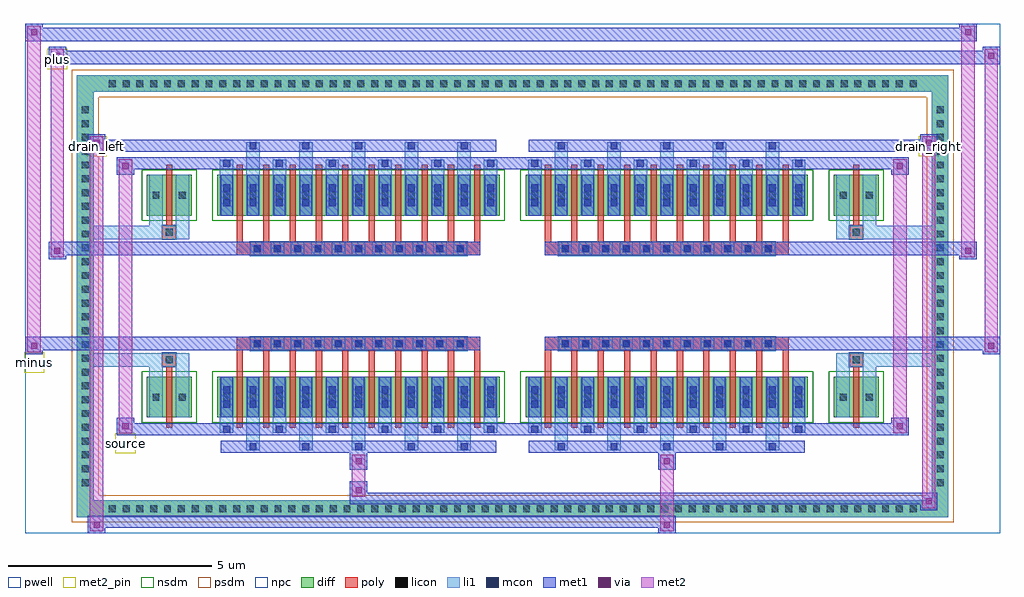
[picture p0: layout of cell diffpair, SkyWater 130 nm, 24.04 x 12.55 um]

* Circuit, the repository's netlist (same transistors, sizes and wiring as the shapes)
* NGSPICE file created from diffpair.ext - technology: sky130A

.subckt diffpair minus drain_right drain_left source plus
X0 drain_right minus source a_n2146_n1088# sky130_fd_pr__nfet_01v8 ad=0.25 pd=1.5 as=0.25 ps=1.5 w=1 l=0.15
X1 drain_left plus source a_n2146_n1088# sky130_fd_pr__nfet_01v8 ad=0.25 pd=1.5 as=0.25 ps=1.5 w=1 l=0.15
X2 source minus drain_right a_n2146_n1088# sky130_fd_pr__nfet_01v8 ad=0.25 pd=1.5 as=0.25 ps=1.5 w=1 l=0.15
X3 source plus drain_left a_n2146_n1088# sky130_fd_pr__nfet_01v8 ad=0.25 pd=1.5 as=0.25 ps=1.5 w=1 l=0.15
X4 drain_right minus source a_n2146_n1088# sky130_fd_pr__nfet_01v8 ad=0.25 pd=1.5 as=0.25 ps=1.5 w=1 l=0.15
X5 source plus drain_left a_n2146_n1088# sky130_fd_pr__nfet_01v8 ad=0.25 pd=1.5 as=0.25 ps=1.5 w=1 l=0.15
X6 drain_right minus source a_n2146_n1088# sky130_fd_pr__nfet_01v8 ad=0.25 pd=1.5 as=0.25 ps=1.5 w=1 l=0.15
X7 a_n2146_n1088# a_n2146_n1088# a_n2146_n1088# a_n2146_n1088# sky130_fd_pr__nfet_01v8 ad=0.475 pd=2.95 as=3.8 ps=23.6 w=1 l=0.15
X8 source minus drain_right a_n2146_n1088# sky130_fd_pr__nfet_01v8 ad=0.25 pd=1.5 as=0.25 ps=1.5 w=1 l=0.15
X9 source plus drain_left a_n2146_n1088# sky130_fd_pr__nfet_01v8 ad=0.475 pd=2.95 as=0.25 ps=1.5 w=1 l=0.15
X10 drain_left plus source a_n2146_n1088# sky130_fd_pr__nfet_01v8 ad=0.25 pd=1.5 as=0.475 ps=2.95 w=1 l=0.15
X11 drain_right minus source a_n2146_n1088# sky130_fd_pr__nfet_01v8 ad=0.25 pd=1.5 as=0.25 ps=1.5 w=1 l=0.15
X12 source minus drain_right a_n2146_n1088# sky130_fd_pr__nfet_01v8 ad=0.25 pd=1.5 as=0.25 ps=1.5 w=1 l=0.15
X13 a_n2146_n1088# a_n2146_n1088# a_n2146_n1088# a_n2146_n1088# sky130_fd_pr__nfet_01v8 ad=0.475 pd=2.95 as=0 ps=0 w=1 l=0.15
X14 drain_right minus source a_n2146_n1088# sky130_fd_pr__nfet_01v8 ad=0.25 pd=1.5 as=0.475 ps=2.95 w=1 l=0.15
X15 drain_right minus source a_n2146_n1088# sky130_fd_pr__nfet_01v8 ad=0.25 pd=1.5 as=0.25 ps=1.5 w=1 l=0.15
X16 source minus drain_right a_n2146_n1088# sky130_fd_pr__nfet_01v8 ad=0.25 pd=1.5 as=0.25 ps=1.5 w=1 l=0.15
X17 drain_left plus source a_n2146_n1088# sky130_fd_pr__nfet_01v8 ad=0.25 pd=1.5 as=0.25 ps=1.5 w=1 l=0.15
X18 source minus drain_right a_n2146_n1088# sky130_fd_pr__nfet_01v8 ad=0.25 pd=1.5 as=0.25 ps=1.5 w=1 l=0.15
X19 drain_right minus source a_n2146_n1088# sky130_fd_pr__nfet_01v8 ad=0.25 pd=1.5 as=0.25 ps=1.5 w=1 l=0.15
X20 source minus drain_right a_n2146_n1088# sky130_fd_pr__nfet_01v8 ad=0.475 pd=2.95 as=0.25 ps=1.5 w=1 l=0.15
X21 a_n2146_n1088# a_n2146_n1088# a_n2146_n1088# a_n2146_n1088# sky130_fd_pr__nfet_01v8 ad=0.475 pd=2.95 as=0 ps=0 w=1 l=0.15
X22 drain_left plus source a_n2146_n1088# sky130_fd_pr__nfet_01v8 ad=0.25 pd=1.5 as=0.25 ps=1.5 w=1 l=0.15
X23 source plus drain_left a_n2146_n1088# sky130_fd_pr__nfet_01v8 ad=0.475 pd=2.95 as=0.25 ps=1.5 w=1 l=0.15
X24 drain_right minus source a_n2146_n1088# sky130_fd_pr__nfet_01v8 ad=0.25 pd=1.5 as=0.25 ps=1.5 w=1 l=0.15
X25 drain_right minus source a_n2146_n1088# sky130_fd_pr__nfet_01v8 ad=0.25 pd=1.5 as=0.25 ps=1.5 w=1 l=0.15
X26 source minus drain_right a_n2146_n1088# sky130_fd_pr__nfet_01v8 ad=0.25 pd=1.5 as=0.25 ps=1.5 w=1 l=0.15
X27 drain_right minus source a_n2146_n1088# sky130_fd_pr__nfet_01v8 ad=0.25 pd=1.5 as=0.475 ps=2.95 w=1 l=0.15
X28 source plus drain_left a_n2146_n1088# sky130_fd_pr__nfet_01v8 ad=0.25 pd=1.5 as=0.25 ps=1.5 w=1 l=0.15
X29 drain_left plus source a_n2146_n1088# sky130_fd_pr__nfet_01v8 ad=0.25 pd=1.5 as=0.25 ps=1.5 w=1 l=0.15
X30 source minus drain_right a_n2146_n1088# sky130_fd_pr__nfet_01v8 ad=0.25 pd=1.5 as=0.25 ps=1.5 w=1 l=0.15
X31 a_n2146_n1088# a_n2146_n1088# a_n2146_n1088# a_n2146_n1088# sky130_fd_pr__nfet_01v8 ad=0.475 pd=2.95 as=0 ps=0 w=1 l=0.15
X32 drain_left plus source a_n2146_n1088# sky130_fd_pr__nfet_01v8 ad=0.25 pd=1.5 as=0.25 ps=1.5 w=1 l=0.15
X33 drain_left plus source a_n2146_n1088# sky130_fd_pr__nfet_01v8 ad=0.25 pd=1.5 as=0.475 ps=2.95 w=1 l=0.15
X34 source plus drain_left a_n2146_n1088# sky130_fd_pr__nfet_01v8 ad=0.25 pd=1.5 as=0.25 ps=1.5 w=1 l=0.15
X35 source plus drain_left a_n2146_n1088# sky130_fd_pr__nfet_01v8 ad=0.25 pd=1.5 as=0.25 ps=1.5 w=1 l=0.15
X36 source minus drain_right a_n2146_n1088# sky130_fd_pr__nfet_01v8 ad=0.475 pd=2.95 as=0.25 ps=1.5 w=1 l=0.15
X37 source minus drain_right a_n2146_n1088# sky130_fd_pr__nfet_01v8 ad=0.25 pd=1.5 as=0.25 ps=1.5 w=1 l=0.15
X38 source plus drain_left a_n2146_n1088# sky130_fd_pr__nfet_01v8 ad=0.25 pd=1.5 as=0.25 ps=1.5 w=1 l=0.15
X39 drain_left plus source a_n2146_n1088# sky130_fd_pr__nfet_01v8 ad=0.25 pd=1.5 as=0.25 ps=1.5 w=1 l=0.15
X40 drain_left plus source a_n2146_n1088# sky130_fd_pr__nfet_01v8 ad=0.25 pd=1.5 as=0.25 ps=1.5 w=1 l=0.15
X41 drain_left plus source a_n2146_n1088# sky130_fd_pr__nfet_01v8 ad=0.25 pd=1.5 as=0.25 ps=1.5 w=1 l=0.15
X42 source plus drain_left a_n2146_n1088# sky130_fd_pr__nfet_01v8 ad=0.25 pd=1.5 as=0.25 ps=1.5 w=1 l=0.15
X43 source plus drain_left a_n2146_n1088# sky130_fd_pr__nfet_01v8 ad=0.25 pd=1.5 as=0.25 ps=1.5 w=1 l=0.15
.ends

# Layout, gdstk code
import gdstk
lib = gdstk.Library(unit=1e-6, precision=5e-09)
def R(c, l, rs):  # rectangles x0, y0, x1, y1
    for r in rs: c.add(gdstk.rectangle(r[:2], r[2:], *l))
def A(c, l, x, y, w, h, nx, ny, dx, dy):  # array of equal rectangles
    R(c, l, [(x+i*dx, y+j*dy, x+i*dx+w, y+j*dy+h) for i in range(nx) for j in range(ny)])
def P(c, l, *ps):  # polygons
    for p in ps: c.add(gdstk.Polygon(p, *l))
pwell = (64, 44)
diff = (65, 20)
poly = (66, 20)
licon = (66, 44)
li1 = (67, 20)
mcon = (67, 44)
met1 = (68, 20)
via = (68, 44)
met2_pin = (69, 16)
met2 = (69, 20)
nsdm = (93, 44)
psdm = (94, 20)
npc = (95, 20)

diffpair = lib.new_cell('diffpair')
R(diffpair, pwell, [(-12,-5.84,12,6.71), (-9.32,-4.03,-0.01,-0.805), (0.01,-4.03,9.32,-0.805), (-9.32,0.805,-0.01,4.03), (0.01,0.805,9.32,4.03)])
A(diffpair, diff, -10.065, -5.44, 0.41, 0.41, 59, 2, 0.34, 10.47)
A(diffpair, diff, -10.73, -4.795, 0.41, 0.41, 1, 28, 0, 0.34)
A(diffpair, diff, 10.32, -4.795, 0.41, 0.41, 1, 28, 0, 0.34)
R(diffpair, diff, [(-10.065,-5.44,10.065,-5.03), (-10.73,-4.795,-10.32,4.795), (10.32,-4.795,10.73,4.795), (-9.01,-2.985,-7.91,-1.985), (-7.27,-2.985,-0.32,-1.985), (0.32,-2.985,7.27,-1.985), (7.91,-2.985,9.01,-1.985), (-9.01,1.985,-7.91,2.985), (-7.27,1.985,-0.32,2.985), (0.32,1.985,7.27,2.985), (7.91,1.985,9.01,2.985), (-10.065,5.03,10.065,5.44)])
P(diffpair, diff, [(10.73,5.44),(-10.73,5.44),(-10.73,-5.03),(-10.32,-5.03),(-10.32,5.03),(10.32,5.03),(10.32,-5.03),(-10.32,-5.03),(-10.73,-5.03),(-10.73,-5.44),(10.73,-5.44)])
A(diffpair, poly, -6.795, -3.235, 0.15, 1.5, 10, 2, 0.65, 4.97)
A(diffpair, poly, 0.795, -3.235, 0.15, 1.5, 10, 2, 0.65, 4.97)
A(diffpair, poly, -6.795, -1.735, 0.15, 0.4, 10, 2, 0.65, 3.07)
A(diffpair, poly, 0.795, -1.735, 0.15, 0.4, 10, 2, 0.65, 3.07)
A(diffpair, poly, -6.46, -1.335, 0.33, 0.33, 11, 2, 0.5, 2.34)
A(diffpair, poly, 1.13, -1.335, 0.33, 0.33, 11, 2, 0.5, 2.34)
R(diffpair, poly, [(-8.535,-3.235,-8.385,-1.735), (8.385,-3.235,8.535,-1.735), (-8.625,-1.735,-8.295,-1.405), (-8.625,-1.735,-8.295,-1.405), (8.295,-1.735,8.625,-1.405), (8.295,-1.735,8.625,-1.405), (-6.795,-1.335,-0.795,-1.005), (0.795,-1.335,6.795,-1.005), (-6.795,1.005,-0.795,1.335), (0.795,1.005,6.795,1.335), (-8.625,1.405,-8.295,1.735), (-8.625,1.405,-8.295,1.735), (8.295,1.405,8.625,1.735), (8.295,1.405,8.625,1.735), (-8.535,1.735,-8.385,3.235), (8.385,1.735,8.535,3.235)])
A(diffpair, licon, -9.945, -5.32, 0.17, 0.17, 59, 2, 0.34, 10.47)
A(diffpair, licon, -10.61, -4.675, 0.17, 0.17, 1, 28, 0, 0.34)
A(diffpair, licon, 10.44, -4.675, 0.17, 0.17, 1, 28, 0, 0.34)
A(diffpair, licon, -7.13, -2.57, 0.17, 0.17, 11, 2, 0.65, 4.97)
A(diffpair, licon, 0.46, -2.57, 0.17, 0.17, 11, 2, 0.65, 4.97)
A(diffpair, licon, -6.38, -1.255, 0.17, 0.17, 11, 2, 0.5, 2.34)
A(diffpair, licon, 1.21, -1.255, 0.17, 0.17, 11, 2, 0.5, 2.34)
R(diffpair, licon, [(-8.87,-2.57,-8.7,-2.4), (-8.22,-2.57,-8.05,-2.4), (8.05,-2.57,8.22,-2.4), (8.7,-2.57,8.87,-2.4), (-8.545,-1.655,-8.375,-1.485), (8.375,-1.655,8.545,-1.485), (-8.545,1.485,-8.375,1.655), (8.375,1.485,8.545,1.655), (-8.87,2.4,-8.7,2.57), (-8.22,2.4,-8.05,2.57), (8.05,2.4,8.22,2.57), (8.7,2.4,8.87,2.57)])
A(diffpair, li1, -10.025, -5.4, 0.33, 0.33, 59, 2, 0.34, 10.47)
A(diffpair, li1, -10.69, -4.755, 0.33, 0.33, 1, 28, 0, 0.34)
A(diffpair, li1, 10.36, -4.755, 0.33, 0.33, 1, 28, 0, 0.34)
A(diffpair, li1, -6.56, -3.79, 0.33, 0.805, 5, 2, 1.3, 6.775)
A(diffpair, li1, -6.48, -3.79, 0.17, 0.17, 5, 2, 1.3, 7.41)
A(diffpair, li1, 1.03, -3.79, 0.33, 0.805, 5, 2, 1.3, 6.775)
A(diffpair, li1, 1.11, -3.79, 0.17, 0.17, 5, 2, 1.3, 7.41)
A(diffpair, li1, -7.21, -3.36, 0.33, 0.375, 6, 2, 1.3, 6.345)
A(diffpair, li1, -7.13, -3.36, 0.17, 0.17, 6, 2, 1.3, 6.55)
A(diffpair, li1, 0.38, -3.36, 0.33, 0.375, 6, 2, 1.3, 6.345)
A(diffpair, li1, 0.46, -3.36, 0.17, 0.17, 6, 2, 1.3, 6.55)
A(diffpair, li1, -7.21, -2.985, 0.33, 1, 11, 2, 0.65, 4.97)
A(diffpair, li1, 0.38, -2.985, 0.33, 1, 11, 2, 0.65, 4.97)
A(diffpair, li1, -7.13, -2.75, 0.17, 0.17, 11, 2, 0.65, 0.36)
A(diffpair, li1, -7.13, -2.75, 0.17, 0.53, 11, 2, 0.65, 4.97)
A(diffpair, li1, 0.46, -2.75, 0.17, 0.17, 11, 2, 0.65, 0.36)
A(diffpair, li1, 0.46, -2.75, 0.17, 0.53, 11, 2, 0.65, 4.97)
A(diffpair, li1, -7.21, -2.65, 0.33, 0.33, 11, 2, 0.65, 4.97)
A(diffpair, li1, 0.38, -2.65, 0.33, 0.33, 11, 2, 0.65, 4.97)
A(diffpair, li1, -6.46, -1.335, 0.33, 0.33, 11, 2, 0.5, 2.34)
A(diffpair, li1, 1.13, -1.335, 0.33, 0.33, 11, 2, 0.5, 2.34)
A(diffpair, li1, -7.13, 2.22, 0.17, 0.17, 11, 2, 0.65, 0.36)
A(diffpair, li1, 0.46, 2.22, 0.17, 0.17, 11, 2, 0.65, 0.36)
R(diffpair, li1, [(-10.73,-5.44,-10.32,-5.03), (-10.73,-5.44,-10.32,-5.03), (-10.32,-5.44,10.32,-5.03), (10.32,-5.44,10.73,-5.03), (10.32,-5.44,10.73,-5.03), (-10.73,-5.03,-10.32,5.03), (10.32,-5.03,10.73,5.03), (-8.95,-2.985,-8.62,-1.985), (-8.3,-2.985,-7.97,-1.985), (7.97,-2.985,8.3,-1.985), (8.62,-2.985,8.95,-1.985), (-8.95,-2.65,-8.62,-2.32), (-8.3,-2.65,-7.97,-2.32), (7.97,-2.65,8.3,-2.32), (8.62,-2.65,8.95,-2.32), (-8.95,-1.985,-8.62,-1.405), (-8.3,-1.985,-7.97,-1.405), (7.97,-1.985,8.3,-1.405), (8.62,-1.985,8.95,-1.405), (-10.73,-1.735,-8.625,-1.405), (-8.95,-1.735,-8.625,-1.405), (-8.625,-1.735,-8.295,-1.405), (-8.295,-1.735,-7.97,-1.405), (7.97,-1.735,8.295,-1.405), (8.295,-1.735,8.625,-1.405), (8.295,-1.735,10.73,-1.405), (8.625,-1.735,8.95,-1.405), (-10.73,1.405,-8.625,1.735), (-8.95,1.405,-8.625,1.735), (-8.95,1.405,-8.62,1.985), (-8.625,1.405,-8.295,1.735), (-8.3,1.405,-7.97,1.985), (-8.295,1.405,-7.97,1.735), (7.97,1.405,8.295,1.735), (7.97,1.405,8.3,1.985), (8.295,1.405,8.625,1.735), (8.295,1.405,10.73,1.735), (8.62,1.405,8.95,1.985), (8.625,1.405,8.95,1.735), (-8.95,1.985,-8.62,2.985), (-8.3,1.985,-7.97,2.985), (7.97,1.985,8.3,2.985), (8.62,1.985,8.95,2.985), (-8.95,2.32,-8.62,2.65), (-8.3,2.32,-7.97,2.65), (7.97,2.32,8.3,2.65), (8.62,2.32,8.95,2.65), (-10.73,5.03,-10.32,5.44), (-10.73,5.03,-10.32,5.44), (-10.32,5.03,10.32,5.44), (10.32,5.03,10.73,5.44), (10.32,5.03,10.73,5.44)])
A(diffpair, mcon, -6.48, -3.79, 0.17, 0.17, 5, 2, 1.3, 7.41)
A(diffpair, mcon, 1.11, -3.79, 0.17, 0.17, 5, 2, 1.3, 7.41)
A(diffpair, mcon, -7.13, -3.36, 0.17, 0.17, 6, 2, 1.3, 6.55)
A(diffpair, mcon, 0.46, -3.36, 0.17, 0.17, 6, 2, 1.3, 6.55)
A(diffpair, mcon, -7.13, -2.75, 0.17, 0.17, 11, 2, 0.65, 0.36)
A(diffpair, mcon, 0.46, -2.75, 0.17, 0.17, 11, 2, 0.65, 0.36)
A(diffpair, mcon, -6.38, -1.255, 0.17, 0.17, 11, 2, 0.5, 2.34)
A(diffpair, mcon, 1.21, -1.255, 0.17, 0.17, 11, 2, 0.5, 2.34)
A(diffpair, mcon, -7.13, 2.22, 0.17, 0.17, 11, 2, 0.65, 0.36)
A(diffpair, mcon, 0.46, 2.22, 0.17, 0.17, 11, 2, 0.65, 0.36)
A(diffpair, met1, -6.54, -3.85, 0.29, 0.29, 5, 2, 1.3, 7.41)
A(diffpair, met1, 1.05, -3.85, 0.29, 0.29, 5, 2, 1.3, 7.41)
A(diffpair, met1, -7.19, -3.42, 0.29, 0.29, 6, 2, 1.3, 6.55)
A(diffpair, met1, 0.4, -3.42, 0.29, 0.29, 6, 2, 1.3, 6.55)
A(diffpair, met1, -7.19, -2.985, 0.29, 1, 11, 2, 0.65, 4.97)
A(diffpair, met1, 0.4, -2.985, 0.29, 1, 11, 2, 0.65, 4.97)
A(diffpair, met1, -7.19, -2.81, 0.29, 0.29, 11, 2, 0.65, 0.36)
A(diffpair, met1, 0.4, -2.81, 0.29, 0.29, 11, 2, 0.65, 0.36)
A(diffpair, met1, -6.44, -1.315, 0.29, 0.29, 11, 2, 0.5, 2.34)
A(diffpair, met1, 1.15, -1.315, 0.29, 0.29, 11, 2, 0.5, 2.34)
A(diffpair, met1, -7.19, 2.16, 0.29, 0.29, 11, 2, 0.65, 0.36)
A(diffpair, met1, 0.4, 2.16, 0.29, 0.29, 11, 2, 0.65, 0.36)
R(diffpair, met1, [(-10.46,-5.84,-10.03,-5.41), (3.58,-5.84,4.01,-5.41), (-10.46,-5.7,4.01,-5.41), (10.03,-5.27,10.46,-4.84), (-4.01,-5.13,10.46,-4.84), (-4.01,-4.99,-3.58,-4.56), (-4.01,-4.28,-3.58,-3.85), (3.58,-4.28,4.01,-3.85), (-7.19,-3.85,-0.4,-3.56), (0.4,-3.85,7.19,-3.56), (-9.75,-3.42,-9.32,-2.99), (-9.75,-3.42,-7.19,-3.13), (-7.19,-3.42,-0.4,-3.13), (-0.4,-3.42,0.4,-3.13), (0.4,-3.42,7.19,-3.13), (7.19,-3.42,9.75,-3.13), (9.32,-3.42,9.75,-2.99), (-12,-1.435,-11.57,-1.005), (11.57,-1.435,12,-1.005), (-12,-1.335,-0.795,-1.005), (-6.795,-1.335,-0.795,-1.005), (0.795,-1.335,6.795,-1.005), (0.795,-1.335,12,-1.005), (-11.43,0.905,-11,1.335), (11,0.905,11.43,1.335), (-11.43,1.005,-6.795,1.335), (-6.795,1.005,-0.795,1.335), (0.795,1.005,6.795,1.335), (6.795,1.005,11.43,1.335), (-9.75,2.99,-9.32,3.42), (9.32,2.99,9.75,3.42), (-9.75,3.13,-7.19,3.42), (-7.19,3.13,-0.4,3.42), (-0.4,3.13,0.4,3.42), (0.4,3.13,7.19,3.42), (7.19,3.13,9.75,3.42), (-10.46,3.56,-10.03,3.99), (-10.46,3.56,-7.19,3.85), (-7.19,3.56,-0.4,3.85), (0.4,3.56,7.19,3.85), (7.19,3.56,10.46,3.85), (10.03,3.56,10.46,3.99), (-11.43,5.71,-11,6.14), (-11.43,5.71,-9.32,6.04), (-9.32,5.71,9.32,6.04), (9.32,5.71,12,6.04), (11.57,5.71,12,6.14), (-12,6.28,-11.57,6.71), (-12,6.28,-9.32,6.61), (-9.32,6.28,9.32,6.61), (9.32,6.28,11.43,6.61), (11,6.28,11.43,6.71)])
R(diffpair, via, [(-10.32,-5.7,-10.17,-5.55), (3.72,-5.7,3.87,-5.55), (10.17,-5.13,10.32,-4.98), (-3.87,-4.85,-3.72,-4.7), (-3.87,-4.14,-3.72,-3.99), (3.72,-4.14,3.87,-3.99), (-9.61,-3.28,-9.46,-3.13), (9.46,-3.28,9.61,-3.13), (-11.86,-1.295,-11.71,-1.145), (11.71,-1.295,11.86,-1.145), (-11.29,1.045,-11.14,1.195), (11.14,1.045,11.29,1.195), (-9.61,3.13,-9.46,3.28), (9.46,3.13,9.61,3.28), (-10.32,3.7,-10.17,3.85), (10.17,3.7,10.32,3.85), (-11.29,5.85,-11.14,6), (11.71,5.85,11.86,6), (-11.86,6.42,-11.71,6.57), (11.14,6.42,11.29,6.57)])
R(diffpair, met2_pin, [(-9.785,-3.87,-9.285,-3.37), (-12.035,-1.885,-11.535,-1.385), (-10.495,3.44,-9.995,3.94), (9.995,3.44,10.495,3.94), (-11.465,5.59,-10.965,6.09)])
R(diffpair, met2, [(-10.41,-5.79,-10.08,-5.46), (-10.41,-5.79,-10.08,3.94), (3.63,-5.79,3.96,-5.46), (3.63,-5.46,3.96,-4.23), (10.08,-5.22,10.41,-4.89), (10.08,-5.22,10.41,3.94), (-3.96,-4.94,-3.63,-4.61), (-3.96,-4.61,-3.63,-4.23), (-3.96,-4.23,-3.63,-3.9), (3.63,-4.23,3.96,-3.9), (-9.7,-3.37,-9.37,-3.04), (-9.7,-3.37,-9.37,3.37), (9.37,-3.37,9.7,-3.04), (9.37,-3.37,9.7,3.37), (-11.95,-1.385,-11.62,-1.055), (-11.95,-1.385,-11.62,6.66), (11.62,-1.385,11.95,-1.055), (11.62,-1.385,11.95,6.09), (-11.38,0.955,-11.05,1.285), (-11.38,0.955,-11.05,6.09), (11.05,0.955,11.38,1.285), (11.05,0.955,11.38,6.66), (-9.7,3.04,-9.37,3.37), (9.37,3.04,9.7,3.37), (-10.41,3.61,-10.08,3.94), (10.08,3.61,10.41,3.94), (-11.38,5.76,-11.05,6.09), (11.62,5.76,11.95,6.09), (-11.95,6.33,-11.62,6.66), (11.05,6.33,11.38,6.66)])
P(diffpair, met2, [(11.95,-1.385),(11.95,-1.385),(11.95,-1.055),(11.95,-1.055)],
  [(11.95,5.76),(11.95,5.76),(11.95,6.09),(11.95,6.09)],
  [(-11.62,-1.385),(-11.62,-1.385),(-11.62,-1.055),(-11.62,-1.055)],
  [(-11.62,6.33),(-11.62,6.33),(-11.62,6.66),(-11.62,6.66)],
  [(11.38,0.955),(11.38,0.955),(11.38,1.285),(11.38,1.285)],
  [(11.38,6.33),(11.38,6.33),(11.38,6.66),(11.38,6.66)],
  [(-11.05,0.955),(-11.05,0.955),(-11.05,1.285),(-11.05,1.285)],
  [(-11.05,5.76),(-11.05,5.76),(-11.05,6.09),(-11.05,6.09)],
  [(-10.08,-5.79),(-10.08,-5.79),(-10.08,-5.46),(-10.08,-5.46)],
  [(-10.08,3.61),(-10.08,3.61),(-10.08,3.94),(-10.08,3.94)],
  [(10.41,-5.22),(10.41,-5.22),(10.41,-4.89),(10.41,-4.89)],
  [(10.41,3.61),(10.41,3.61),(10.41,3.94),(10.41,3.94)],
  [(-9.37,-3.37),(-9.37,-3.37),(-9.37,-3.04),(-9.37,-3.04)],
  [(-9.37,3.04),(-9.37,3.04),(-9.37,3.37),(-9.37,3.37)],
  [(9.7,-3.37),(9.7,-3.37),(9.7,-3.04),(9.7,-3.04)],
  [(9.7,3.04),(9.7,3.04),(9.7,3.37),(9.7,3.37)])
R(diffpair, nsdm, [(-9.14,-3.115,-7.78,-1.855), (-7.4,-3.115,-0.19,-1.855), (0.19,-3.115,7.4,-1.855), (7.78,-3.115,9.14,-1.855), (-9.14,1.855,-7.78,3.115), (-7.4,1.855,-0.19,3.115), (0.19,1.855,7.4,3.115), (7.78,1.855,9.14,3.115)])
P(diffpair, psdm, [(10.86,5.57),(-10.86,5.57),(-10.86,-4.9),(-10.19,-4.9),(-10.19,4.9),(10.19,4.9),(10.19,-4.9),(-10.19,-4.9),(-10.86,-4.9),(-10.86,-5.57),(10.86,-5.57)])
A(diffpair, npc, -6.48, -1.355, 0.37, 0.37, 11, 2, 0.5, 2.34)
A(diffpair, npc, 1.11, -1.355, 0.37, 0.37, 11, 2, 0.5, 2.34)
R(diffpair, npc, [(-8.645,-1.755,-8.275,-1.385), (8.275,-1.755,8.645,-1.385), (-6.48,-1.355,-5.61,-0.985), (-6.48,-1.355,-5.61,-0.985), (-5.98,-1.355,-5.11,-0.985), (-5.98,-1.355,-5.11,-0.985), (-5.48,-1.355,-4.61,-0.985), (-5.48,-1.355,-4.61,-0.985), (-4.98,-1.355,-4.11,-0.985), (-4.98,-1.355,-4.11,-0.985), (-4.48,-1.355,-3.61,-0.985), (-4.48,-1.355,-3.61,-0.985), (-3.98,-1.355,-3.11,-0.985), (-3.98,-1.355,-3.11,-0.985), (-3.48,-1.355,-2.61,-0.985), (-3.48,-1.355,-2.61,-0.985), (-2.98,-1.355,-2.11,-0.985), (-2.98,-1.355,-2.11,-0.985), (-2.48,-1.355,-1.61,-0.985), (-2.48,-1.355,-1.61,-0.985), (-1.98,-1.355,-1.11,-0.985), (-1.98,-1.355,-1.11,-0.985), (1.11,-1.355,1.98,-0.985), (1.11,-1.355,1.98,-0.985), (1.61,-1.355,2.48,-0.985), (1.61,-1.355,2.48,-0.985), (2.11,-1.355,2.98,-0.985), (2.11,-1.355,2.98,-0.985), (2.61,-1.355,3.48,-0.985), (2.61,-1.355,3.48,-0.985), (3.11,-1.355,3.98,-0.985), (3.11,-1.355,3.98,-0.985), (3.61,-1.355,4.48,-0.985), (3.61,-1.355,4.48,-0.985), (4.11,-1.355,4.98,-0.985), (4.11,-1.355,4.98,-0.985), (4.61,-1.355,5.48,-0.985), (4.61,-1.355,5.48,-0.985), (5.11,-1.355,5.98,-0.985), (5.11,-1.355,5.98,-0.985), (5.61,-1.355,6.48,-0.985), (5.61,-1.355,6.48,-0.985), (-6.48,0.985,-5.61,1.355), (-6.48,0.985,-5.61,1.355), (-5.98,0.985,-5.11,1.355), (-5.98,0.985,-5.11,1.355), (-5.48,0.985,-4.61,1.355), (-5.48,0.985,-4.61,1.355), (-4.98,0.985,-4.11,1.355), (-4.98,0.985,-4.11,1.355), (-4.48,0.985,-3.61,1.355), (-4.48,0.985,-3.61,1.355), (-3.98,0.985,-3.11,1.355), (-3.98,0.985,-3.11,1.355), (-3.48,0.985,-2.61,1.355), (-3.48,0.985,-2.61,1.355), (-2.98,0.985,-2.11,1.355), (-2.98,0.985,-2.11,1.355), (-2.48,0.985,-1.61,1.355), (-2.48,0.985,-1.61,1.355), (-1.98,0.985,-1.11,1.355), (-1.98,0.985,-1.11,1.355), (1.11,0.985,1.98,1.355), (1.11,0.985,1.98,1.355), (1.61,0.985,2.48,1.355), (1.61,0.985,2.48,1.355), (2.11,0.985,2.98,1.355), (2.11,0.985,2.98,1.355), (2.61,0.985,3.48,1.355), (2.61,0.985,3.48,1.355), (3.11,0.985,3.98,1.355), (3.11,0.985,3.98,1.355), (3.61,0.985,4.48,1.355), (3.61,0.985,4.48,1.355), (4.11,0.985,4.98,1.355), (4.11,0.985,4.98,1.355), (4.61,0.985,5.48,1.355), (4.61,0.985,5.48,1.355), (5.11,0.985,5.98,1.355), (5.11,0.985,5.98,1.355), (5.61,0.985,6.48,1.355), (5.61,0.985,6.48,1.355), (-8.645,1.385,-8.275,1.755), (8.275,1.385,8.645,1.755)])
diffpair.add(gdstk.Label('minus', (-11.785,-1.635), layer=69, texttype=5))
diffpair.add(gdstk.Label('drain_right', (10.245,3.69), layer=69, texttype=5))
diffpair.add(gdstk.Label('drain_left', (-10.245,3.69), layer=69, texttype=5))
diffpair.add(gdstk.Label('source', (-9.535,-3.62), layer=69, texttype=5))
diffpair.add(gdstk.Label('plus', (-11.215,5.84), layer=69, texttype=5))

lib.write_gds('diffpair.gds')
